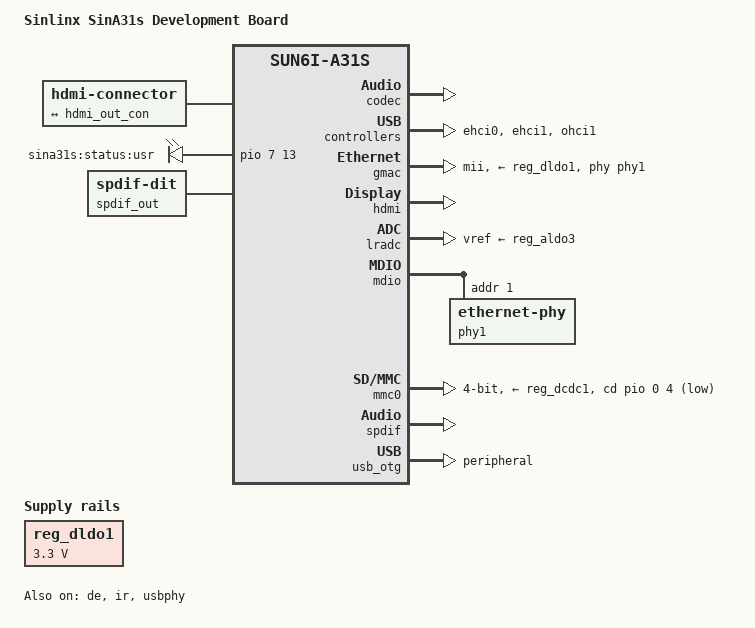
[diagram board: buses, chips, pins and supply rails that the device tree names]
/*
 * Copyright 2015 Chen-Yu Tsai <wens@csie.org>
 *
 * This file is dual-licensed: you can use it either under the terms
 * of the GPL or the X11 license, at your option. Note that this dual
 * licensing only applies to this file, and not this project as a
 * whole.
 *
 *  a) This file is free software; you can redistribute it and/or
 *     modify it under the terms of the GNU General Public License as
 *     published by the Free Software Foundation; either version 2 of the
 *     License, or (at your option) any later version.
 *
 *     This file is distributed in the hope that it will be useful,
 *     but WITHOUT ANY WARRANTY; without even the implied warranty of
 *     MERCHANTABILITY or FITNESS FOR A PARTICULAR PURPOSE.  See the
 *     GNU General Public License for more details.
 *
 * Or, alternatively,
 *
 *  b) Permission is hereby granted, free of charge, to any person
 *     obtaining a copy of this software and associated documentation
 *     files (the "Software"), to deal in the Software without
 *     restriction, including without limitation the rights to use,
 *     copy, modify, merge, publish, distribute, sublicense, and/or
 *     sell copies of the Software, and to permit persons to whom the
 *     Software is furnished to do so, subject to the following
 *     conditions:
 *
 *     The above copyright notice and this permission notice shall be
 *     included in all copies or substantial portions of the Software.
 *
 *     THE SOFTWARE IS PROVIDED "AS IS", WITHOUT WARRANTY OF ANY KIND,
 *     EXPRESS OR IMPLIED, INCLUDING BUT NOT LIMITED TO THE WARRANTIES
 *     OF MERCHANTABILITY, FITNESS FOR A PARTICULAR PURPOSE AND
 *     NONINFRINGEMENT. IN NO EVENT SHALL THE AUTHORS OR COPYRIGHT
 *     HOLDERS BE LIABLE FOR ANY CLAIM, DAMAGES OR OTHER LIABILITY,
 *     WHETHER IN AN ACTION OF CONTRACT, TORT OR OTHERWISE, ARISING
 *     FROM, OUT OF OR IN CONNECTION WITH THE SOFTWARE OR THE USE OR
 *     OTHER DEALINGS IN THE SOFTWARE.
 */

/* The SinA31s development board has the SinA31s core board soldered on */
#include "sun6i-a31s-sina31s-core.dtsi"

#include <dt-bindings/input/input.h>

/ {
	model = "Sinlinx SinA31s Development Board";
	compatible = "sinlinx,sina31s-sdk", "allwinner,sun6i-a31s";

	chosen {
		stdout-path = "serial0:115200n8";
	};

	hdmi-connector {
		compatible = "hdmi-connector";
		type = "a";

		port {
			hdmi_con_in: endpoint {
				remote-endpoint = <&hdmi_out_con>;
			};
		};
	};

	leds {
		compatible = "gpio-leds";

		status {
			label = "sina31s:status:usr";
			gpios = <&pio 7 13 GPIO_ACTIVE_HIGH>; /* PH13 */
		};
	};

	sound {
		compatible = "simple-audio-card";
		simple-audio-card,name = "On-board SPDIF";
		simple-audio-card,cpu {
			sound-dai = <&spdif>;
		};

		simple-audio-card,codec {
			sound-dai = <&spdif_out>;
		};
	};

	spdif_out: spdif-out {
		#sound-dai-cells = <0>;
		compatible = "linux,spdif-dit";
	};
};

&codec {
	allwinner,audio-routing =
		"Line Out", "LINEOUT",
		"MIC1", "Mic",
		"Mic",	"MBIAS";
	status = "okay";
};

&de {
	status = "okay";
};

&ehci0 {
	/* USB 2.0 4 port hub IC */
	status = "okay";
};

&ehci1 {
	status = "okay";
};

&gmac {
	pinctrl-names = "default";
	pinctrl-0 = <&gmac_mii_pins>;
	phy-handle = <&phy1>;
	phy-mode = "mii";
	phy-supply = <&reg_dldo1>;
	status = "okay";
};

&hdmi {
	status = "okay";
};

&hdmi_out {
	hdmi_out_con: endpoint {
		remote-endpoint = <&hdmi_con_in>;
	};
};

&ir {
	pinctrl-names = "default";
	pinctrl-0 = <&s_ir_rx_pin>;
	status = "okay";
};

&lradc {
	vref-supply = <&reg_aldo3>;
	status = "okay";

	button-158 {
		label = "Volume Up";
		linux,code = <KEY_VOLUMEUP>;
		channel = <0>;
		voltage = <158730>;
	};

	button-349 {
		label = "Volume Down";
		linux,code = <KEY_VOLUMEDOWN>;
		channel = <0>;
		voltage = <349206>;
	};
};

&mdio {
	phy1: ethernet-phy@1 {
		reg = <1>;
	};
};

&mmc0 {
	vmmc-supply = <&reg_dcdc1>;
	bus-width = <4>;
	cd-gpios = <&pio 0 4 GPIO_ACTIVE_LOW>; /* PA4 */
	status = "okay";
};

&ohci1 {
	status = "okay";
};

&reg_dldo1 {
	regulator-min-microvolt = <3300000>;
	regulator-max-microvolt = <3300000>;
	regulator-name = "vcc-gmac-phy";
};

&spdif {
	pinctrl-names = "default";
	pinctrl-0 = <&spdif_tx_pin>;
	status = "okay";
};

&usb_otg {
	dr_mode = "peripheral";
	status = "okay";
};

&usbphy {
	status = "okay";
};
